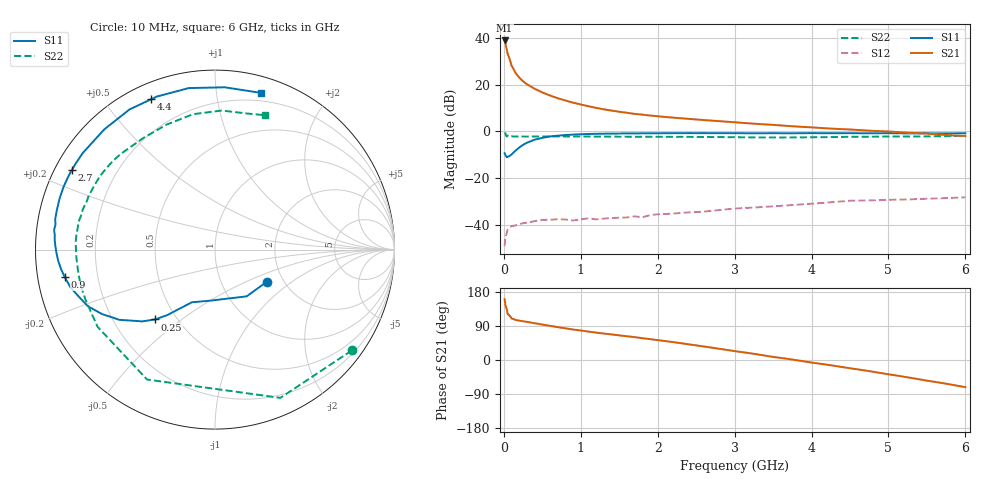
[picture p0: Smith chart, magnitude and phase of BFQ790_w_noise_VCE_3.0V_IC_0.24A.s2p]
! Infineon Technologies  Discrete & RF Semiconductors
! BFQ790
! VCE =  3.0 V,  IC = 0.24 A
! Common Emitter S-Parameters:  May 2015
# GHz  S  MA  R  50
!  f  S11  S21  S12  S22
! GHz  MAG  ANG  MAG  ANG  MAG  ANG  MAG  ANG
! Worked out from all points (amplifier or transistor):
!   77 points, 10 MHz to 6 GHz, reference 50 ohm
!   highest |S21| = 38.8 dB at 10 MHz (marker M1)
!   |S21| within 3 dB of that: start of sweep to 32.06 MHz
!   unconditionally stable (mu >= 1): 223.4 MHz to end of sweep
!   at 130 MHz: K = 0.76, MSG = 33.4 dB, |S12| = -40.4 dB
!   at 2.2 GHz: K = 1.29, MAG = 17.3 dB, |S12| = -35.2 dB
!   at 6 GHz: K = 1.09, MAG = 11.2 dB, |S12| = -28.2 dB
!   lowest NFmin = 3.64 dB at 1.5 GHz
!   S11 on the Smith chart (normalised r, x): 10 MHz: 1.64, -0.67; 250 MHz: 0.38, -0.40; 900 MHz: 0.08, -0.09; 2.7 GHz: 0.05, +0.26; 4.4 GHz: 0.07, +0.66; 6 GHz: 0.13, +1.32
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0.01  0.3395 -32.0  87.55 160.5  0.0035 67.3  0.947 -36.4
0.02  0.3145 -55.9  75.26 144.6  0.0054 53.0  0.9028 -66.2
0.05  0.2848 -94.4  45.11 121.0  0.0079 30.9  0.8168 -117.6
0.1  0.3202 -113.6  25.42 109.7  0.0094 20.2  0.7829 -146.7
0.15  0.3827 -120.9  17.9 105.9  0.0097 18.7  0.7736 -158.6
0.2  0.4507 -126.0  14.05 103.8  0.0103 21.0  0.7746 -164.9
0.25  0.5133 -130.7  11.74 102.2  0.0109 18.1  0.7724 -169.2
0.3  0.5697 -135.4  10.12 100.6  0.0111 13.6  0.7721 -172.3
0.4  0.6611 -143.7  8.097 97.0  0.012 15.7  0.7735 -176.9
0.5  0.7249 -150.3  6.765 93.5  0.0128 11.7  0.7745 179.8
0.6  0.776 -156.1  5.834 90.1  0.0128 14.1  0.7775 177.1
0.7  0.805 -161.3  5.096 86.7  0.0132 13.7  0.7767 174.7
0.9  0.8509 -169.6  4.093 80.4  0.0124 11.6  0.7743 171.1
1.1  0.8761 -176.0  3.429 75.0  0.0138 11.9  0.7741 167.6
1.5  0.8966 174.8  2.618 65.0  0.0142 15.3  0.7675 161.9
2.1  0.9094 163.5  2.025 49.9  0.0171 14.7  0.7613 153.1
2.7  0.9121 150.9  1.693 32.7  0.0199 10.6  0.7545 141.3
3.1  0.9093 141.7  1.516 20.7  0.0228 5.6  0.7438 132.2
4.1  0.9117 119.3  1.184 -9.5  0.0291 -8.4  0.7477 108.6
4.4  0.9102 112.9  1.111 -18.6  0.0318 -14.1  0.7582 101.5
5.1  0.907 96.7  0.967 -40.8  0.0345 -28.8  0.7744 85.2
6  0.9096 73.8  0.792 -71.8  0.0389 -49.8  0.7984 69.7
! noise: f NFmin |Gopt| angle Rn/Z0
0.45  6.01  0.5  143  0.58
0.9  4.24  0.62  168  0.19
1.5  3.64  0.73  -172  0.1
1.8  3.67  0.73  -166  0.12
2.6  3.87  0.76  -151  0.31
3.5  4.37  0.85  -134  0.65
